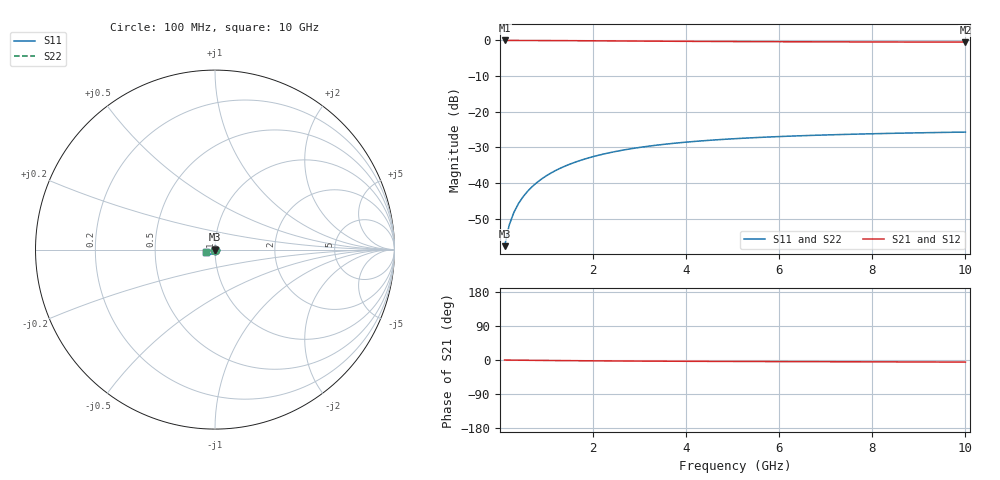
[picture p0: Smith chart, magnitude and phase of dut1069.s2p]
! Touchstone file exported from HFSS 2024.1.0
!  File:  C:/UserFiles/LocalFiles/RDL_TSV_Batchsim/temp_TSV1_1069_1780064249.aedt
!  Generated:  10:22:44 PM May 29, 2026
!  Design:  TSV1
!  Project:  temp_TSV1_1069_1780064249
!  Setup:  Setup1
!  Solution:  Sweep
! Variables:
!  dtsv = 9.39um
!  hbump = 3um
!  htsv = 87.32um
!  lrdl = 252.1521522um
!  p = 40
!  p1 = 40.65um
!  t = 500um
!  trdl = 3um
!  wrdl = 24.89489489um
# GHz S MA R 50.000000
! Terminal data exported
! Port[1] = TSV22_T1
! Port[2] = TSV22_T2
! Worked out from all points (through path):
!   100 points, 100 MHz to 10 GHz, reference 50 ohm
!   highest |S21| = 0.00 dB at 100 MHz (marker M1); lowest = -0.5 dB at 10 GHz (marker M2)
!   lowest |S11| = -57.7 dB at 100 MHz (marker M3), VSWR 1.00, Z = 50 - j0.13 ohm
!   |S11| at or under -10 dB: start of sweep to end of sweep
!   |S22| runs from -57.7 to -25.7 dB; largest |S21 - S12| = 6.6e-15
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0.1  0.001307 -83.7  0.9998 -0.1  0.9998 -0.1  0.001307 -83.7
! Gamma 0 0 0 0
! Port Impedance 50 0 50 0
0.2  0.0026 -88.9  0.9997 -0.3  0.9997 -0.3  0.0026 -88.9
0.3  0.003899 -91.6  0.9995 -0.4  0.9995 -0.4  0.003899 -91.6
0.4  0.005195 -93.7  0.9992 -0.5  0.9992 -0.5  0.005195 -93.7
0.5  0.006484 -95.6  0.9989 -0.6  0.9989 -0.6  0.006484 -95.6
0.6  0.007762 -97.4  0.9985 -0.7  0.9985 -0.7  0.007762 -97.4
0.7  0.009027 -99.1  0.9981 -0.9  0.9981 -0.9  0.009027 -99.1
0.8  0.01028 -100.7  0.9976 -1.0  0.9976 -1.0  0.01028 -100.7
0.9  0.01151 -102.3  0.997 -1.1  0.997 -1.1  0.01151 -102.3
1.1  0.01391 -105.4  0.9958 -1.3  0.9958 -1.3  0.01391 -105.4
1.4  0.01734 -109.7  0.9937 -1.6  0.9937 -1.6  0.01734 -109.7
1.6  0.0195 -112.5  0.9921 -1.8  0.9921 -1.8  0.0195 -112.5
1.8  0.02156 -115.1  0.9904 -2.0  0.9904 -2.0  0.02156 -115.1
2.1  0.02443 -118.9  0.9878 -2.2  0.9878 -2.2  0.02443 -118.9
2.5  0.0279 -123.6  0.9842 -2.6  0.9842 -2.6  0.0279 -123.6
2.9  0.03095 -127.9  0.9807 -2.8  0.9807 -2.8  0.03095 -127.9
3.4  0.03424 -132.7  0.9765 -3.1  0.9765 -3.1  0.03424 -132.7
4.2  0.03851 -139.5  0.9705 -3.5  0.9705 -3.5  0.03851 -139.5
5.1  0.04216 -145.8  0.9648 -3.9  0.9648 -3.9  0.04216 -145.8
6.7  0.04669 -154.8  0.9573 -4.4  0.9573 -4.4  0.04669 -154.8
8.4  0.04986 -162.3  0.9517 -5.0  0.9517 -5.0  0.04986 -162.3
10  0.05195 -168.0  0.948 -5.5  0.948 -5.5  0.05195 -168.0
